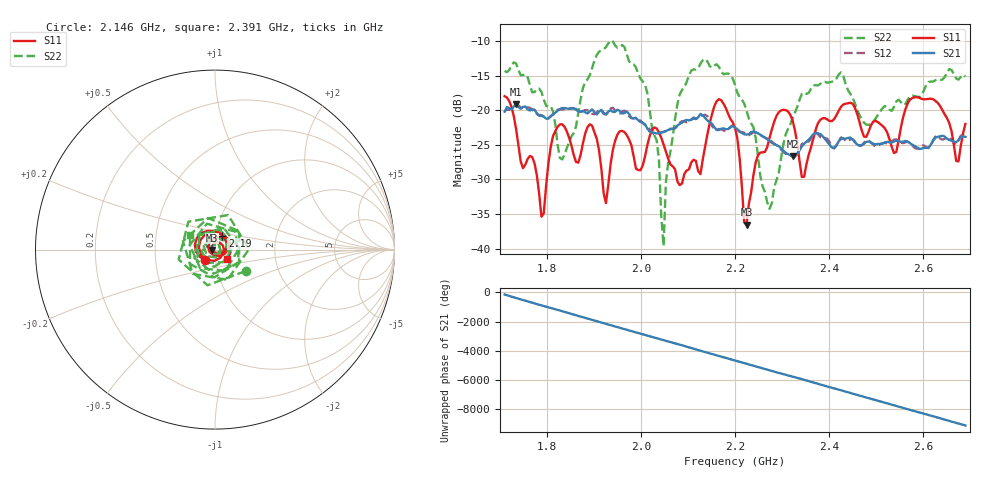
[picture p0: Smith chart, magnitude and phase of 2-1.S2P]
!Agilent Technologies,E5061B,MY49305579,A.02.22
!Date: Thu Aug 24 16:27:08 2017
!Data & Calibration Information:
!Freq	S11:SOLT2(ON)	S21:SOLT2(ON)	S12:SOLT2(ON)	S22:SOLT2(ON)
# Hz S dB R 50
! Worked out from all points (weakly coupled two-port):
!   201 points, 1.71 GHz to 2.69 GHz, reference 50 ohm
!   highest |S21| = -19.17 dB at 1.734 GHz (marker M1); lowest = -26.6 dB at 2.322 GHz (marker M2)
!   lowest |S11| = -36.6 dB at 2.224 GHz (marker M3), VSWR 1.03, Z = 48.5 - j0.179 ohm
!   |S11| at or under -10 dB: start of sweep to end of sweep
!   |S22| runs from -39.7 to -9.9 dB; largest |S21 - S12| = 0.0078
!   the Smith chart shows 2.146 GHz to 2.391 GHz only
!   S11 on the Smith chart (normalised r, x): 2.146 GHz: 0.89, -0.10; 2.19 GHz: 1.07, +0.16; 2.391 GHz: 1.14, -0.12
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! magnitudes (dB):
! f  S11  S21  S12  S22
! 1.71 GHz  -18.0  -20.2  -20.1  -14.3
! 1.734 GHz  -22.7  -19.2  -19.2  -13.3
! 1.788 GHz  -35.4  -20.8  -20.7  -17.4
! 1.833 GHz  -22.0  -19.7  -19.9  -27.1
! 1.877 GHz  -24.8  -20.1  -20.2  -16.8
! 1.926 GHz  -33.4  -20.6  -20.6  -10.9
! 1.965 GHz  -23.2  -20.4  -20.1  -10.9
! 2.038 GHz  -23.2  -23.3  -23.4  -27.2
! 2.048 GHz  -25.0  -23.1  -23.2  -39.7
! 2.053 GHz  -26.0  -23.0  -23.0  -30.4
! 2.082 GHz  -30.8  -22.0  -21.8  -17.7
! 2.146 GHz  -21.9  -21.7  -21.6  -13.6
! 2.19 GHz  -21.3  -22.5  -22.4  -14.9
! 2.2 GHz  -22.6  -22.5  -22.5  -16.3
! 2.224 GHz  -36.6  -23.5  -23.5  -20.1
! 2.273 GHz  -24.0  -24.5  -24.3  -34.3
! 2.322 GHz  -21.5  -26.6  -26.7  -21.2
! 2.342 GHz  -29.6  -25.2  -24.9  -17.7
! 2.367 GHz  -24.1  -23.5  -23.4  -16.4
! 2.391 GHz  -21.2  -24.1  -24.1  -15.9
! 2.528 GHz  -24.1  -24.6  -24.7  -19.9
! 2.69 GHz  -22.0  -23.9  -23.9  -15.1
